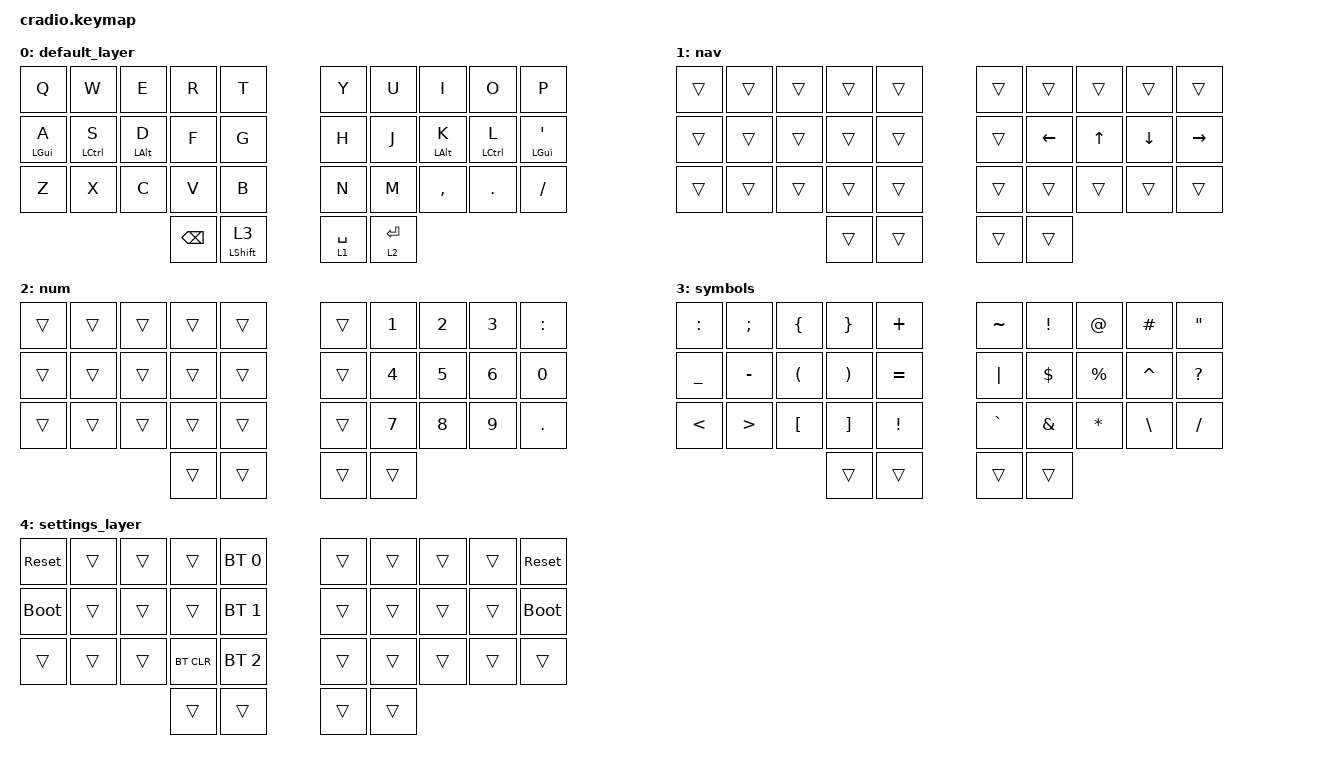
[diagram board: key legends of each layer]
/*
 * Copyright (c) 2020 The ZMK Contributors
 *
 * SPDX-License-Identifier: MIT
 */

#include "keymap_italian.h"
#include <behaviors.dtsi>
#include <dt-bindings/zmk/bt.h>
#include <dt-bindings/zmk/keys.h>

#define LAYER_BASE 0
#define LAYER_NAV  1
#define LAYER_NUM  2
#define LAYER_SYM  3
#define LAYER_SET  4

// Key definitions

#define POS_LH_T1 30
#define POS_LH_T2 31
#define POS_LH_C1R1 4
#define POS_LH_C1R2 14
#define POS_LH_C1R3 24
#define POS_LH_C2R1 3
#define POS_LH_C2R2 13
#define POS_LH_C2R3 23
#define POS_LH_C3R1 2
#define POS_LH_C3R2 12
#define POS_LH_C3R3 22
#define POS_LH_C4R1 1
#define POS_LH_C4R2 11
#define POS_LH_C4R3 21
#define POS_LH_C5R1 0
#define POS_LH_C5R2 10
#define POS_LH_C5R3 20
#define POS_RH_T1 32
#define POS_RH_T2 33
#define POS_RH_C1R1 5
#define POS_RH_C1R2 15
#define POS_RH_C1R3 25
#define POS_RH_C2R1 6
#define POS_RH_C2R2 16
#define POS_RH_C2R3 26
#define POS_RH_C3R1 7
#define POS_RH_C3R2 17
#define POS_RH_C3R3 27
#define POS_RH_C4R1 8
#define POS_RH_C4R2 18
#define POS_RH_C4R3 28
#define POS_RH_C5R1 9
#define POS_RH_C5R2 19
#define POS_RH_C5R3 29
#define KEYS_LEFT POS_LH_C1R1 4  POS_LH_C1R2 14  POS_LH_C1R3 24  POS_LH_C2R1 3  POS_LH_C2R2 13  POS_LH_C2R3 23  POS_LH_C3R1 2  POS_LH_C3R2 12  POS_LH_C3R3 22  POS_LH_C4R1 1  POS_LH_C4R2 11  POS_LH_C4R3 21  POS_LH_C5R1 0  POS_LH_C5R2 10  POS_LH_C5R3 20
#define KEYS_RIGHT POS_RH_C1R1 4  POS_RH_C1R2 14  POS_RH_C1R3 24  POS_RH_C2R1 3  POS_RH_C2R2 13  POS_RH_C2R3 23  POS_RH_C3R1 2  POS_RH_C3R2 12  POS_RH_C3R3 22  POS_RH_C4R1 1  POS_RH_C4R2 11  POS_RH_C4R3 21  POS_RH_C5R1 0  POS_RH_C5R2 10  POS_RH_C5R3 20
#define THUMBS POS_LH_T1 POS_LH_T2 POS_RH_T1 POS_RH_T2

// -----------------

&mt {
    //  flavor = "tap-preferred";
    // tapping_term_ms = <200>;
};

&sk { ignore-modifiers; };

/ {
    behaviors {
        // For the "layer" key, it'd nice to be able to use it as either a shift or a toggle.
        // Configure it as a tap dance, so the first tap (or hold) is a &mo and the second tap is a &to

        rpi: require_prior_idle {
            compatible = "zmk,behavior-hold-tap";
            #binding-cells = <2>;
            flavor = "tap-preferred";
            tapping-term-ms = <175>;
            quick-tap-ms = <150>;
            require-prior-idle-ms = <125>;
            bindings = <&kp>, <&kp>;
        };

        hml: hold_tap_left {
            compatible = "zmk,behavior-hold-tap";
            flavor = "tap-preferred";
            tapping-term-ms = <280>;
            quick-tap-ms = <175>;
            require-prior-idle-ms = <150>;
            #binding-cells = <2>;
            bindings = <&kp>, <&kp>;

            hold-trigger-key-positions = <KEYS_RIGHT THUMBS>;
            hold-trigger-on-release;
        };

        hmr: hold_tap_right {
            compatible = "zmk,behavior-hold-tap";
            flavor = "tap-preferred";
            tapping-term-ms = <280>;
            quick-tap-ms = <175>;
            require-prior-idle-ms = <150>;
            #binding-cells = <2>;
            bindings = <&kp>, <&kp>;

            hold-trigger-key-positions = <KEYS_LEFT THUMBS>;
            hold-trigger-on-release;
        };

        qt: quick_tap {
            compatible = "zmk,behavior-hold-tap";
            flavor = "balanced";
            tapping-term-ms = <200>;
            quick-tap-ms = <175>;
            require-prior-idle-ms = <150>;
            #binding-cells = <2>;
            bindings = <&kp>, <&kp>;

            hold-trigger-on-release;
        };

        ht: hold_tap {
            compatible = "zmk,behavior-hold-tap";
            bindings = <&kp>, <&kp>;

            #binding-cells = <2>;
            tapping-term-ms = <300>;
            quick-tap-ms = <150>;
            flavor = "tap-preferred";
        };

        hold_temp_layer: hold_temp_layer {
            compatible = "zmk,behavior-hold-tap";
            bindings = <&mo>, <&tog>;

            #binding-cells = <2>;
            tapping-term-ms = <220>;
            quick-tap-ms = <150>;
        };

        ht_pref_hold: ht_pref_hold {
            compatible = "zmk,behavior-hold-tap";
            bindings = <&kp>, <&kp>;

            #binding-cells = <2>;
            tapping-term-ms = <300>;
            quick-tap-ms = <150>;
            flavor = "hold-preferred";
            retro-tap;
        };

        sticky_tap: sticky_tap {
            compatible = "zmk,behavior-hold-tap";
            bindings = <&mo>, <&sk>;

            #binding-cells = <2>;
            tapping-term-ms = <300>;
            flavor = "tap-preferred";
        };

        sl_hold: sl_hold {
            compatible = "zmk,behavior-hold-tap";
            #binding-cells = <2>;
            bindings = <&kp>, <&sl>;
            flavor = "hold-preferred";
            tapping-term-ms = <200>;
        };
    };
};

/ {
    combos {
        compatible = "zmk,combos";

        escape-combo {
            bindings = <&kp ESC>;
            key-positions = <11 13>;
        };

        delete {
            bindings = <&kp DEL>;
            key-positions = <13 14>;
        };

        volume-up {
            bindings = <&kp C_VOLUME_UP>;
            key-positions = <5 6>;
        };

        volume-down {
            bindings = <&kp C_VOL_DN>;
            key-positions = <25 26>;
        };

        play-pause {
            bindings = <&kp C_PLAY_PAUSE>;
            key-positions = <15 16>;
        };

        settings-layer {
            bindings = <&sl 4>;
            key-positions = <0 4>;
        };

        bt-clear {
            bindings = <&bt BT_CLR>;
            key-positions = <20 24>;
        };

        homerow-open {
            bindings = <&kp LG(LS(SPACE))>;
            key-positions = <13 16>;
        };

        screenshot {
            bindings = <&kp LS(LG(NUMBER_4))>;
            key-positions = <0 3>;
        };

        spaces-left {
            bindings = <&kp LC(LEFT)>;
            key-positions = <2 11>;
            require-prior-idle-ms = <125>;
        };

        spaces-right {
            bindings = <&kp LC(RIGHT)>;
            key-positions = <2 13>;
            require-prior-idle-ms = <125>;
        };

        tab-prev {
            bindings = <&kp LC(GRAVE)>;
            key-positions = <22 21>;
        };

        tab-next {
            bindings = <&kp LC(TAB)>;
            key-positions = <23 22>;
        };

        layer-nums {
            bindings = <&mo 2>;
            key-positions = <31 32>;
        };

        combo {
            bindings = <&kp TAB>;
            key-positions = <13 12>;
            require-prior-idle-ms = <125>;
        };

        minus {
            bindings = <&kp MINUS>;
            key-positions = <16 17>;
        };
    };

    keymap {
        compatible = "zmk,keymap";

        // Base alpha layer

        default_layer {
            bindings = <
&kp Q            &kp W                &kp E            &kp R          &kp T                    &kp Y        &kp U        &kp I            &kp O                &kp P
&hml LEFT_GUI A  &hml LEFT_CONTROL S  &hml LEFT_ALT D  &kp F          &kp G                    &kp H        &kp J        &hmr LEFT_ALT K  &hmr LEFT_CONTROL L  &hmr LEFT_GUI SQT
&kp Z            &kp X                &kp C            &kp V          &kp B                    &kp N        &kp M        &kp COMMA        &kp PERIOD           &kp SLASH
                                                       &kp BACKSPACE  &sl_hold LEFT_SHIFT 3    &lt 1 SPACE  &lt 2 ENTER
            >;
        };

        nav {
            bindings = <
&trans  &trans  &trans  &trans  &trans    &trans  &trans    &trans        &trans    &trans
&trans  &trans  &trans  &trans  &trans    &trans  &kp LEFT  &kp UP_ARROW  &kp DOWN  &kp RIGHT
&trans  &trans  &trans  &trans  &trans    &trans  &trans    &trans        &trans    &trans
                        &trans  &trans    &trans  &trans
            >;
        };

        num {
            bindings = <
&trans  &trans  &trans  &trans  &trans    &trans  &kp N1  &kp N2  &kp N3  &kp COLON
&trans  &trans  &trans  &trans  &trans    &trans  &kp N4  &kp N5  &kp N6  &kp N0
&trans  &trans  &trans  &trans  &trans    &trans  &kp N7  &kp N8  &kp N9  &kp DOT
                        &trans  &trans    &trans  &trans
            >;
        };

        symbols {
            bindings = <
&kp COLON      &kp SEMICOLON     &kp LEFT_BRACE        &kp RIGHT_BRACE        &kp PLUS           &kp TILDE  &kp EXCLAMATION  &kp AT_SIGN   &kp HASH       &kp DOUBLE_QUOTES
&kp UNDER      &kp MINUS         &kp LEFT_PARENTHESIS  &kp RIGHT_PARENTHESIS  &kp EQUAL          &kp PIPE   &kp DOLLAR       &kp PERCENT   &kp CARET      &kp QUESTION
&kp LESS_THAN  &kp GREATER_THAN  &kp LEFT_BRACKET      &kp RIGHT_BRACKET      &kp EXCLAMATION    &kp GRAVE  &kp AMPERSAND    &kp ASTERISK  &kp BACKSLASH  &kp SLASH
                                                       &trans                 &trans             &trans     &trans
            >;
        };

        settings_layer {
            bindings = <
&sys_reset   &trans  &trans  &trans      &bt BT_SEL 0    &trans  &trans  &trans  &trans  &sys_reset
&bootloader  &trans  &trans  &trans      &bt BT_SEL 1    &trans  &trans  &trans  &trans  &bootloader
&trans       &trans  &trans  &bt BT_CLR  &bt BT_SEL 2    &trans  &trans  &trans  &trans  &trans
                             &trans      &trans          &trans  &trans
            >;
        };
    };
};
